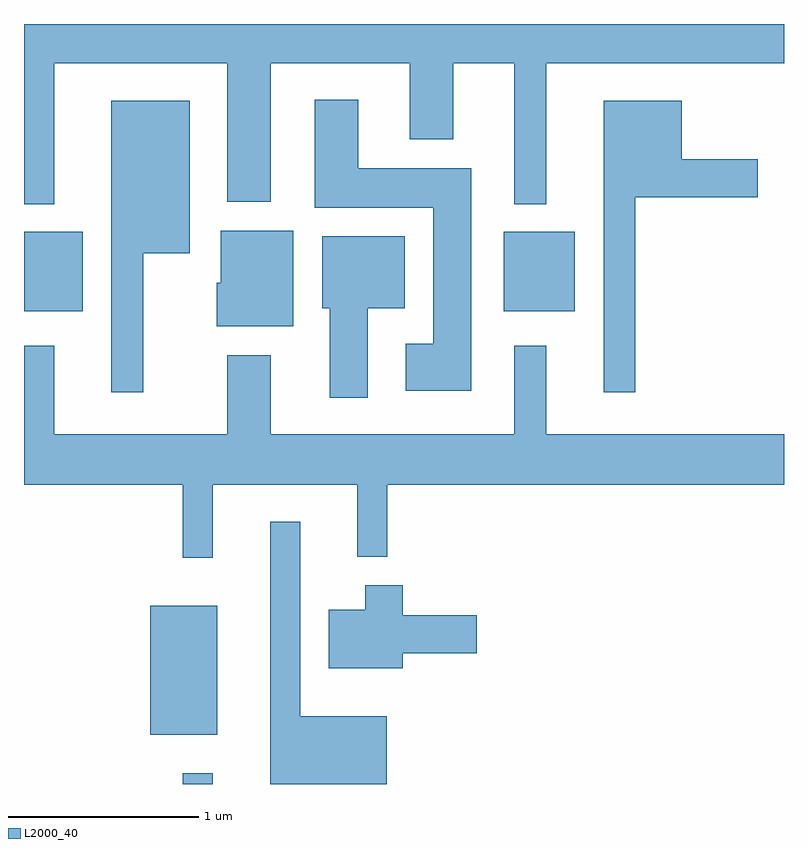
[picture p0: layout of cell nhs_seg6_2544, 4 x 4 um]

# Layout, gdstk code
import gdstk
lib = gdstk.Library(unit=1e-6, precision=1e-09)
def R(c, l, rs):  # rectangles x0, y0, x1, y1
    for r in rs: c.add(gdstk.rectangle(r[:2], r[2:], *l))
def P(c, l, *ps):  # polygons
    for p in ps: c.add(gdstk.Polygon(p, *l))
L2000_40 = (2000, 40)

nhs_seg6_2544 = lib.new_cell('nhs_seg6_2544')
R(nhs_seg6_2544, L2000_40, [(262.446,1626.162,262.604,1626.218), (262.276,1626.421,262.629,1627.099), (261.611,1628.651,261.919,1629.069), (264.136,1628.651,264.509,1629.069)])
P(nhs_seg6_2544, L2000_40, [(261.769,1629.956),(262.681,1629.956),(262.681,1629.226),(262.909,1629.226),(262.909,1629.956),(263.641,1629.956),(263.641,1629.556),(263.869,1629.556),(263.869,1629.956),(264.191,1629.956),(264.191,1629.213),(264.359,1629.213),(264.359,1629.956),(265.611,1629.956),(265.611,1630.162),(261.611,1630.162),(261.611,1629.213),(261.769,1629.213)],
  [(263.964,1629.404),(263.369,1629.404),(263.369,1629.764),(263.141,1629.764),(263.141,1629.196),(263.766,1629.196),(263.766,1628.479),(263.621,1628.479),(263.621,1628.231),(263.964,1628.231)],
  [(264.829,1629.251),(265.474,1629.251),(265.474,1629.449),(265.074,1629.449),(265.074,1629.759),(264.661,1629.759),(264.661,1628.223),(264.829,1628.223)],
  [(262.239,1628.956),(262.484,1628.956),(262.484,1629.759),(262.071,1629.759),(262.071,1628.223),(262.239,1628.223)],
  [(263.029,1629.074),(262.646,1629.074),(262.646,1628.799),(262.626,1628.799),(262.626,1628.571),(263.029,1628.571)],
  [(263.419,1628.666),(263.614,1628.666),(263.614,1629.044),(263.181,1629.044),(263.181,1628.666),(263.221,1628.666),(263.221,1628.196),(263.419,1628.196)],
  [(262.604,1627.736),(263.366,1627.736),(263.366,1627.358),(263.524,1627.358),(263.524,1627.736),(265.611,1627.736),(265.611,1628.004),(264.359,1628.004),(264.359,1628.468),(264.191,1628.468),(264.191,1628.004),(262.909,1628.004),(262.909,1628.419),(262.681,1628.419),(262.681,1628.004),(261.769,1628.004),(261.769,1628.468),(261.611,1628.468),(261.611,1627.736),(262.446,1627.736),(262.446,1627.353),(262.604,1627.353)],
  [(263.519,1626.519),(263.064,1626.519),(263.064,1627.543),(262.906,1627.543),(262.906,1626.162),(263.519,1626.162)],
  [(263.604,1626.851),(263.994,1626.851),(263.994,1627.049),(263.604,1627.049),(263.604,1627.209),(263.406,1627.209),(263.406,1627.079),(263.216,1627.079),(263.216,1626.771),(263.604,1626.771)])

lib.write_gds('nhs_seg6_2544.gds')
